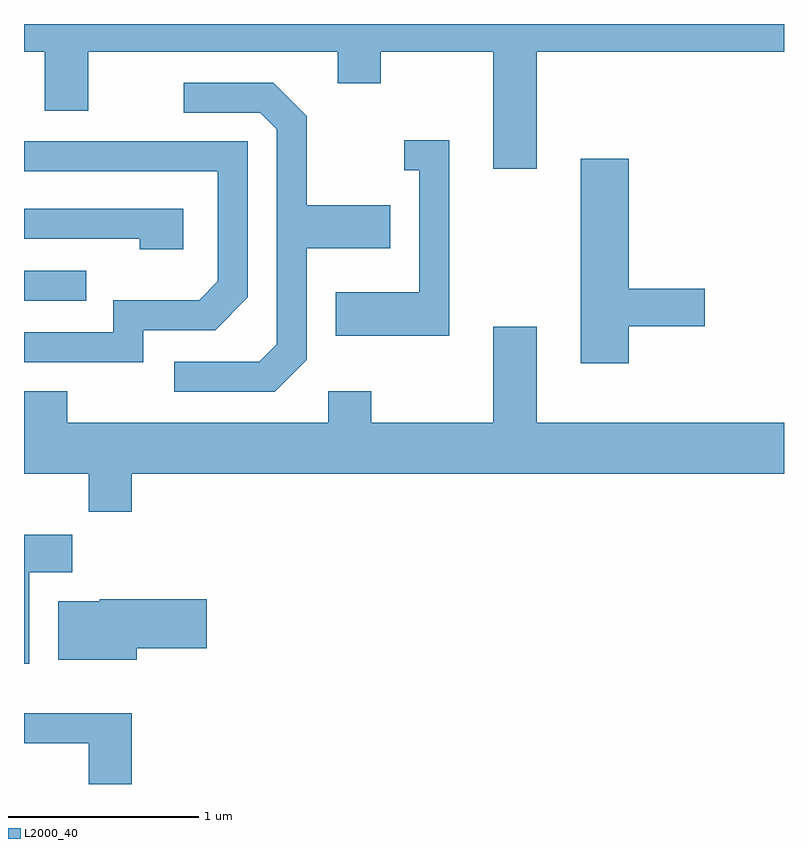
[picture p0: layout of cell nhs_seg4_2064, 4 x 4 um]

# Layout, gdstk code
import gdstk
lib = gdstk.Library(unit=1e-6, precision=1e-09)
def R(c, l, rs):  # rectangles x0, y0, x1, y1
    for r in rs: c.add(gdstk.rectangle(r[:2], r[2:], *l))
def P(c, l, *ps):  # polygons
    for p in ps: c.add(gdstk.Polygon(p, *l))
L2000_40 = (2000, 40)

nhs_seg4_2064 = lib.new_cell('nhs_seg4_2064')
R(nhs_seg4_2064, L2000_40, [(245.611,1304.526,245.938,1304.684)])
P(nhs_seg4_2064, L2000_40, [(248.309,1305.836),(249.611,1305.836),(249.611,1305.982),(245.611,1305.982),(245.611,1305.836),(245.721,1305.836),(245.721,1305.526),(245.949,1305.526),(245.949,1305.836),(247.261,1305.836),(247.261,1305.671),(247.489,1305.671),(247.489,1305.836),(248.081,1305.836),(248.081,1305.221),(248.309,1305.221)],
  [(247.099,1304.214),(247.099,1304.801),(247.539,1304.801),(247.539,1305.029),(247.099,1305.029),(247.099,1305.497),(246.922,1305.674),(246.453,1305.674),(246.453,1305.516),(246.854,1305.516),(246.941,1305.429),(246.941,1304.297),(246.849,1304.204),(246.403,1304.204),(246.403,1304.046),(246.932,1304.046)],
  [(247.849,1305.369),(247.613,1305.369),(247.613,1305.211),(247.691,1305.211),(247.691,1304.569),(247.251,1304.569),(247.251,1304.341),(247.849,1304.341)],
  [(246.239,1304.371),(246.617,1304.371),(246.789,1304.544),(246.789,1305.364),(245.611,1305.364),(245.611,1305.206),(246.631,1305.206),(246.631,1304.627),(246.534,1304.529),(246.081,1304.529),(246.081,1304.359),(245.611,1304.359),(245.611,1304.201),(246.239,1304.201)],
  [(248.794,1304.391),(249.194,1304.391),(249.194,1304.589),(248.794,1304.589),(248.794,1305.274),(248.541,1305.274),(248.541,1304.196),(248.794,1304.196)],
  [(246.449,1305.009),(245.611,1305.009),(245.611,1304.851),(246.221,1304.851),(246.221,1304.796),(246.449,1304.796)],
  [(246.179,1303.616),(249.611,1303.616),(249.611,1303.884),(248.309,1303.884),(248.309,1304.389),(248.081,1304.389),(248.081,1303.884),(247.439,1303.884),(247.439,1304.049),(247.211,1304.049),(247.211,1303.884),(245.839,1303.884),(245.839,1304.049),(245.611,1304.049),(245.611,1303.616),(245.951,1303.616),(245.951,1303.416),(246.179,1303.416)],
  [(245.639,1303.096),(245.864,1303.096),(245.864,1303.294),(245.611,1303.294),(245.611,1302.616),(245.639,1302.616)],
  [(246.204,1302.696),(246.574,1302.696),(246.574,1302.954),(246.01,1302.954),(246.01,1302.944),(245.791,1302.944),(245.791,1302.636),(246.204,1302.636)],
  [(246.179,1302.354),(245.611,1302.354),(245.611,1302.196),(245.951,1302.196),(245.951,1301.982),(246.179,1301.982)])

lib.write_gds('nhs_seg4_2064.gds')
